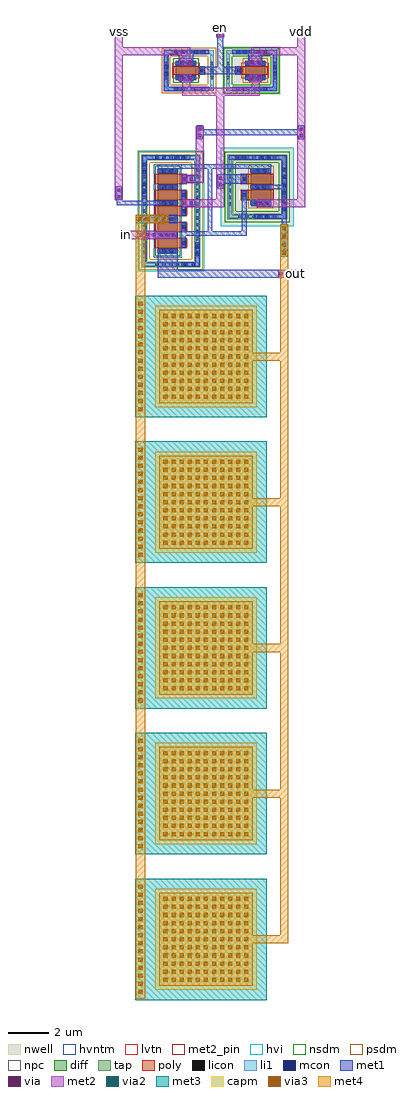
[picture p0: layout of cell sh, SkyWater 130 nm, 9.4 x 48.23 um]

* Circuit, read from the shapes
.subckt sh en in out vdd vss
XM1 in n1 out vss sky130_fd_pr__nfet_g5v0d10v5 w=1 l=0.5
XM2 n2 n1 in vss sky130_fd_pr__nfet_g5v0d10v5 w=1 l=0.5
XM3 vss n3 n2 vss sky130_fd_pr__nfet_g5v0d10v5 w=1 l=0.5
XM4 n4 n3 vss vss sky130_fd_pr__nfet_g5v0d10v5 w=1 l=0.5
XM5 n1 vdd n4 vss sky130_fd_pr__nfet_g5v0d10v5 w=1 l=0.5
XM6 vss en n3 vss sky130_fd_pr__nfet_01v8_lvt w=1 l=0.4
XM7 vdd en n3 vdd sky130_fd_pr__pfet_01v8_lvt w=1 l=0.4
XM8 n5 n1 vdd n5 sky130_fd_pr__pfet_g5v0d10v5 w=1 l=0.5
XM9 n1 n3 n5 n5 sky130_fd_pr__pfet_g5v0d10v5 w=1 l=0.5
XC10 n5 n2 sky130_fd_pr__cap_mim_m3_1 w=5 l=5 m=5
.ends

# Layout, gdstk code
import gdstk
lib = gdstk.Library(unit=1e-6, precision=1e-09)
def R(c, l, rs):  # rectangles x0, y0, x1, y1
    for r in rs: c.add(gdstk.rectangle(r[:2], r[2:], *l))
def A(c, l, x, y, w, h, nx, ny, dx, dy):  # array of equal rectangles
    R(c, l, [(x+i*dx, y+j*dy, x+i*dx+w, y+j*dy+h) for i in range(nx) for j in range(ny)])
nwell = (64, 20)
diff = (65, 20)
tap = (65, 44)
poly = (66, 20)
licon = (66, 44)
li1 = (67, 20)
mcon = (67, 44)
met1 = (68, 20)
via = (68, 44)
met2_pin = (69, 16)
met2 = (69, 20)
via2 = (69, 44)
met3 = (70, 20)
via3 = (70, 44)
met4 = (71, 20)
hvi = (75, 20)
capm = (89, 44)
nsdm = (93, 44)
psdm = (94, 20)
npc = (95, 20)
hvntm = (125, 20)
lvtn = (125, 44)

c_sh = lib.new_cell('sh')
R(c_sh, nwell, [(392.525,1812.86,396.145,1816.73), (392.635,1819.37,395.475,1821.73)])
R(c_sh, diff, [(389.41,1811.49,390.41,1815.73), (394.015,1813.86,395.015,1815.73), (390.31,1820.06,391.31,1821.04), (393.735,1820.06,394.735,1821.04)])
R(c_sh, tap, [(388.61,1810.82,388.9,1816.4), (388.9,1810.82,391.23,1811.11), (391.23,1810.82,391.52,1816.4), (392.855,1813.19,393.145,1816.4), (393.145,1813.19,395.525,1813.48), (395.525,1813.19,395.815,1816.4), (388.9,1816.11,391.23,1816.4), (393.145,1816.11,395.525,1816.4), (389.75,1819.55,389.92,1821.55), (389.92,1819.55,392.01,1819.72), (392.01,1819.55,392.18,1821.55), (392.815,1819.55,392.985,1821.55), (392.985,1819.55,395.125,1819.72), (395.125,1819.55,395.295,1821.55), (389.92,1821.38,392.01,1821.55), (392.985,1821.38,395.125,1821.55)])
A(c_sh, poly, 389.28, 1811.78, 1.57, 0.5, 1, 5, 0, 0.79)
R(c_sh, poly, [(393.53,1814.15,395.145,1814.65), (393.53,1814.94,395.145,1815.44), (390.18,1820.35,391.75,1820.75), (393.25,1820.35,394.865,1820.75)])
A(c_sh, licon, 389.3, 1810.88, 0.17, 0.17, 5, 2, 0.34, 5.29)
A(c_sh, licon, 388.67, 1811.485, 0.17, 0.17, 1, 13, 0, 0.34)
A(c_sh, licon, 391.29, 1811.485, 0.17, 0.17, 1, 13, 0, 0.34)
A(c_sh, licon, 389.485, 1811.55, 0.17, 0.17, 3, 6, 0.34, 0.79)
A(c_sh, licon, 390.6, 1811.945, 0.17, 0.17, 1, 5, 0, 0.79)
A(c_sh, licon, 393.4, 1813.25, 0.17, 0.17, 6, 2, 0.34, 2.92)
A(c_sh, licon, 392.915, 1813.86, 0.17, 0.17, 1, 6, 0, 0.34)
A(c_sh, licon, 395.585, 1813.86, 0.17, 0.17, 1, 6, 0, 0.34)
A(c_sh, licon, 394.09, 1813.92, 0.17, 0.17, 3, 3, 0.34, 0.79)
A(c_sh, licon, 390.37, 1819.55, 0.17, 0.17, 4, 2, 0.34, 1.83)
A(c_sh, licon, 393.46, 1819.55, 0.17, 0.17, 4, 2, 0.34, 1.83)
A(c_sh, licon, 390.385, 1820.12, 0.17, 0.17, 3, 2, 0.34, 0.69)
A(c_sh, licon, 393.81, 1820.12, 0.17, 0.17, 3, 2, 0.34, 0.69)
A(c_sh, licon, 389.75, 1820.125, 0.17, 0.17, 1, 3, 0, 0.34)
A(c_sh, licon, 392.01, 1820.125, 0.17, 0.17, 1, 3, 0, 0.34)
A(c_sh, licon, 392.815, 1820.125, 0.17, 0.17, 1, 3, 0, 0.34)
A(c_sh, licon, 395.125, 1820.125, 0.17, 0.17, 1, 3, 0, 0.34)
R(c_sh, licon, [(393.61,1814.315,393.78,1814.485), (393.61,1815.105,393.78,1815.275), (391.5,1820.465,391.67,1820.635), (393.33,1820.465,393.5,1820.635)])
A(c_sh, li1, 389.39, 1811.55, 1.04, 0.17, 1, 6, 0, 0.79)
A(c_sh, li1, 390.6, 1811.78, 0.17, 0.5, 1, 5, 0, 0.79)
A(c_sh, li1, 395.585, 1813.615, 0.17, 0.53, 1, 3, 0, 0.8)
A(c_sh, li1, 393.995, 1813.92, 1.04, 0.17, 1, 3, 0, 0.79)
R(c_sh, li1, [(388.67,1810.88,388.84,1816.34), (388.84,1810.88,391.29,1811.05), (390.73,1810.88,391.26,1811.05), (391.29,1810.88,391.46,1816.34), (391.29,1811.39,391.46,1811.92), (392.915,1813.25,393.085,1816.34), (393.085,1813.25,395.585,1813.42), (394.335,1813.25,394.865,1813.42), (395.585,1813.25,395.755,1816.34), (393.61,1814.15,393.78,1814.65), (388.67,1814.46,388.84,1814.99), (393.61,1814.94,393.78,1815.44), (388.67,1815.455,388.84,1815.985), (388.84,1816.17,391.29,1816.34), (389.29,1816.17,389.82,1816.34), (390.23,1816.17,390.76,1816.34), (393.085,1816.17,395.585,1816.34), (393.245,1816.17,393.775,1816.34), (394.48,1816.17,395.01,1816.34), (389.75,1819.55,389.92,1821.55), (389.92,1819.55,392.01,1819.72), (390.225,1819.55,390.755,1819.72), (391.225,1819.55,391.755,1819.72), (392.01,1819.55,392.18,1821.55), (392.815,1819.55,392.985,1821.55), (392.985,1819.55,395.125,1819.72), (393.29,1819.55,393.82,1819.72), (394.29,1819.55,394.82,1819.72), (395.125,1819.55,395.295,1821.55), (390.29,1820.12,391.33,1820.29), (393.715,1820.12,394.755,1820.29), (389.75,1820.285,389.92,1820.815), (395.125,1820.285,395.295,1820.815), (391.5,1820.35,391.67,1820.75), (393.33,1820.35,393.5,1820.75), (390.29,1820.81,391.33,1820.98), (393.715,1820.81,394.755,1820.98), (389.92,1821.38,392.01,1821.55), (390.225,1821.38,390.755,1821.55), (391.225,1821.38,391.755,1821.55), (392.985,1821.38,395.125,1821.55), (393.29,1821.38,393.82,1821.55), (394.29,1821.38,394.82,1821.55)])
A(c_sh, mcon, 389.645, 1811.55, 0.17, 0.17, 1, 6, 0, 0.79)
A(c_sh, mcon, 390.005, 1811.55, 0.17, 0.17, 1, 6, 0, 0.79)
A(c_sh, mcon, 390.6, 1811.945, 0.17, 0.17, 1, 5, 0, 0.79)
A(c_sh, mcon, 394.25, 1813.92, 0.17, 0.17, 1, 3, 0, 0.79)
A(c_sh, mcon, 394.61, 1813.92, 0.17, 0.17, 1, 3, 0, 0.79)
R(c_sh, mcon, [(390.73,1810.88,390.9,1811.05), (391.09,1810.88,391.26,1811.05), (391.29,1811.39,391.46,1811.56), (391.29,1811.75,391.46,1811.92), (394.335,1813.25,394.505,1813.42), (394.695,1813.25,394.865,1813.42), (395.585,1813.615,395.755,1813.785), (395.585,1813.975,395.755,1814.145), (393.61,1814.315,393.78,1814.485), (395.585,1814.415,395.755,1814.585), (388.67,1814.46,388.84,1814.63), (395.585,1814.775,395.755,1814.945), (388.67,1814.82,388.84,1814.99), (393.61,1815.105,393.78,1815.275), (395.585,1815.215,395.755,1815.385), (388.67,1815.455,388.84,1815.625), (395.585,1815.575,395.755,1815.745), (388.67,1815.815,388.84,1815.985), (389.29,1816.17,389.46,1816.34), (389.65,1816.17,389.82,1816.34), (390.23,1816.17,390.4,1816.34), (390.59,1816.17,390.76,1816.34), (393.245,1816.17,393.415,1816.34), (393.605,1816.17,393.775,1816.34), (394.48,1816.17,394.65,1816.34), (394.84,1816.17,395.01,1816.34), (390.225,1819.55,390.395,1819.72), (390.585,1819.55,390.755,1819.72), (391.225,1819.55,391.395,1819.72), (391.585,1819.55,391.755,1819.72), (393.29,1819.55,393.46,1819.72), (393.65,1819.55,393.82,1819.72), (394.29,1819.55,394.46,1819.72), (394.65,1819.55,394.82,1819.72), (390.545,1820.12,390.715,1820.29), (390.905,1820.12,391.075,1820.29), (393.97,1820.12,394.14,1820.29), (394.33,1820.12,394.5,1820.29), (389.75,1820.285,389.92,1820.455), (395.125,1820.285,395.295,1820.455), (391.5,1820.465,391.67,1820.635), (393.33,1820.465,393.5,1820.635), (389.75,1820.645,389.92,1820.815), (395.125,1820.645,395.295,1820.815), (390.545,1820.81,390.715,1820.98), (390.905,1820.81,391.075,1820.98), (393.97,1820.81,394.14,1820.98), (394.33,1820.81,394.5,1820.98), (390.225,1821.38,390.395,1821.55), (390.585,1821.38,390.755,1821.55), (391.225,1821.38,391.395,1821.55), (391.585,1821.38,391.755,1821.55), (393.29,1821.38,393.46,1821.55), (393.65,1821.38,393.82,1821.55), (394.29,1821.38,394.46,1821.55), (394.65,1821.38,394.82,1821.55)])
A(c_sh, met1, 389.41, 1811.52, 1, 0.23, 1, 6, 0, 0.79)
A(c_sh, met1, 390.57, 1811.8, 0.23, 0.46, 1, 5, 0, 0.79)
A(c_sh, met1, 388.41, 1812.275, 0.7, 0.3, 3, 1, 0.65, 0)
A(c_sh, met1, 395.555, 1813.585, 0.23, 0.59, 1, 3, 0, 0.8)
A(c_sh, met1, 394.015, 1813.89, 1, 0.23, 1, 3, 0, 0.79)
R(c_sh, met1, [(389.41,1810.3,390.41,1811.75), (389.41,1810.3,396.015,1810.7), (395.315,1810.35,396.015,1810.65), (390.7,1810.85,391.29,1811.08), (395.47,1811.35,395.87,1812.95), (391.26,1811.36,391.49,1811.95), (395.52,1811.45,395.82,1812.15), (390.57,1811.8,390.8,1813.05), (388.41,1812.225,390.36,1812.625), (395.52,1812.25,395.82,1812.95), (388.33,1813.015,390.41,1813.415), (388.375,1813.065,389.075,1813.365), (389.175,1813.065,389.875,1813.365), (389.025,1813.1,389.41,1813.33), (394.305,1813.22,394.895,1813.45), (390.57,1813.38,390.8,1814.63), (390.57,1813.855,391.27,1814.155), (394.015,1813.855,394.315,1814.155), (394.315,1813.855,395.015,1814.155), (387.35,1814.12,387.65,1814.82), (393.58,1814.17,393.81,1814.63), (388.64,1814.43,388.87,1815.02), (395.015,1814.68,395.785,1814.91), (392.35,1814.72,392.65,1815.42), (392.35,1814.96,393.81,1815.42), (393.58,1814.96,393.81,1815.42), (390.57,1815.04,391.27,1815.34), (388.64,1815.425,388.87,1816.015), (389.41,1815.7,395.015,1815.93), (389.26,1816.14,389.85,1816.37), (390.2,1816.14,390.79,1816.37), (393.215,1816.14,393.805,1816.37), (394.45,1816.14,395.04,1816.37), (391.35,1817.15,391.65,1817.85), (396.35,1817.15,396.65,1817.85), (390.195,1819.52,390.785,1819.75), (391.195,1819.52,391.785,1819.75), (393.26,1819.52,393.85,1819.75), (394.26,1819.52,394.85,1819.75), (390.46,1820.02,391.16,1820.32), (393.885,1820.02,394.585,1820.32), (390.31,1820.09,391.31,1820.32), (393.735,1820.09,394.735,1820.32), (389.72,1820.255,389.95,1820.845), (395.095,1820.255,395.325,1820.845), (391.47,1820.37,393.53,1820.73), (391.47,1820.37,391.7,1820.73), (393.3,1820.37,393.53,1820.73), (390.31,1820.78,391.31,1821.01), (393.735,1820.78,394.735,1821.01), (390.46,1820.83,391.16,1821.13), (393.885,1820.83,394.585,1821.13), (390.46,1821.13,391.16,1821.35), (393.885,1821.13,394.585,1821.35), (390.195,1821.35,390.785,1821.58), (391.195,1821.35,391.785,1821.58), (393.26,1821.35,393.85,1821.58), (394.26,1821.35,394.85,1821.58), (392.35,1822.15,392.65,1822.85)])
R(c_sh, via, [(395.43,1810.425,395.58,1810.575), (395.75,1810.425,395.9,1810.575), (395.595,1811.565,395.745,1811.715), (395.595,1811.885,395.745,1812.035), (388.525,1812.35,388.675,1812.5), (388.845,1812.35,388.995,1812.5), (389.175,1812.35,389.325,1812.5), (389.495,1812.35,389.645,1812.5), (389.825,1812.35,389.975,1812.5), (390.145,1812.35,390.295,1812.5), (395.595,1812.365,395.745,1812.515), (395.595,1812.685,395.745,1812.835), (388.49,1813.14,388.64,1813.29), (388.81,1813.14,388.96,1813.29), (389.29,1813.14,389.44,1813.29), (389.61,1813.14,389.76,1813.29), (390.685,1813.93,390.835,1814.08), (391.005,1813.93,391.155,1814.08), (394.43,1813.93,394.58,1814.08), (394.75,1813.93,394.9,1814.08), (387.425,1814.235,387.575,1814.385), (387.425,1814.555,387.575,1814.705), (392.425,1814.835,392.575,1814.985), (390.685,1815.115,390.835,1815.265), (391.005,1815.115,391.155,1815.265), (392.425,1815.155,392.575,1815.305), (391.425,1817.265,391.575,1817.415), (396.425,1817.265,396.575,1817.415), (391.425,1817.585,391.575,1817.735), (396.425,1817.585,396.575,1817.735), (390.575,1820.095,390.725,1820.245), (390.895,1820.095,391.045,1820.245), (394,1820.095,394.15,1820.245), (394.32,1820.095,394.47,1820.245), (390.575,1820.905,390.725,1821.055), (390.895,1820.905,391.045,1821.055), (394,1820.905,394.15,1821.055), (394.32,1820.905,394.47,1821.055), (390.255,1821.39,390.405,1821.54), (390.575,1821.39,390.725,1821.54), (394.32,1821.39,394.47,1821.54), (394.64,1821.39,394.79,1821.54), (392.425,1822.266,392.575,1822.416), (392.425,1822.586,392.575,1822.736)])
R(c_sh, met2_pin, [(396.11,1810.3,396.385,1810.7), (387.785,1812.225,387.995,1812.625), (387.3,1822.4,387.7,1822.6), (396.3,1822.401,396.7,1822.601), (392.3,1822.6,392.7,1822.8)])
A(c_sh, met2, 388.46, 1812.225, 0.6, 0.4, 3, 1, 0.65, 0)
R(c_sh, met2, [(395.365,1810.3,395.965,1810.7), (395.965,1810.3,396.385,1810.7), (395.47,1811.35,395.87,1812.15), (395.47,1811.5,395.87,1812.1), (395.47,1812.15,395.87,1812.95), (387.785,1812.225,388.155,1812.625), (388.155,1812.225,390.36,1812.625), (395.47,1812.3,395.87,1812.9), (388.325,1813.015,389.125,1813.415), (388.425,1813.015,389.025,1813.415), (389.125,1813.015,389.925,1813.415), (389.225,1813.015,389.825,1813.415), (387.3,1814.17,387.7,1814.77), (392.3,1814.77,392.7,1815.37), (390.62,1814.99,391.22,1815.39), (391.3,1817.2,391.7,1817.8), (396.3,1817.2,396.7,1817.8), (390.51,1819.97,391.11,1820.37), (393.935,1819.97,394.535,1820.37), (390.51,1820.78,391.11,1821.18), (393.935,1820.78,394.535,1821.18), (392.3,1822.2,392.7,1822.8), (392.3,1822.44,392.7,1822.8)])
R(c_sh, via2, [(395.57,1811.45,395.77,1811.65), (395.57,1811.45,395.77,1811.65), (395.57,1811.85,395.77,1812.05), (395.57,1811.85,395.77,1812.05), (395.57,1812.25,395.77,1812.45), (395.57,1812.25,395.77,1812.45), (395.57,1812.65,395.77,1812.85), (395.57,1812.65,395.77,1812.85), (388.425,1813.115,388.625,1813.315), (388.425,1813.115,388.625,1813.315), (388.825,1813.115,389.025,1813.315), (388.825,1813.115,389.025,1813.315), (389.225,1813.115,389.425,1813.315), (389.225,1813.115,389.425,1813.315), (389.625,1813.115,389.825,1813.315), (389.625,1813.115,389.825,1813.315)])
A(c_sh, met3, 388.305, 1774.62, 6.495, 6, 1, 5, 0, 7.2)
R(c_sh, met3, [(395.47,1811.35,395.87,1812.15), (395.47,1811.35,395.87,1812.15), (395.47,1812.15,395.87,1812.95), (395.47,1812.15,395.87,1812.95), (388.325,1813.015,389.125,1813.415), (388.325,1813.015,389.125,1813.415), (389.125,1813.015,389.925,1813.415), (389.125,1813.015,389.925,1813.415)])
A(c_sh, via3, 388.465, 1774.92, 0.2, 0.2, 1, 14, 0, 0.4)
A(c_sh, via3, 389.7, 1775.52, 0.2, 0.2, 11, 11, 0.4, 0.4)
A(c_sh, via3, 388.465, 1782.12, 0.2, 0.2, 1, 14, 0, 0.4)
A(c_sh, via3, 389.7, 1782.72, 0.2, 0.2, 11, 11, 0.4, 0.4)
A(c_sh, via3, 388.465, 1789.32, 0.2, 0.2, 1, 14, 0, 0.4)
A(c_sh, via3, 389.7, 1789.92, 0.2, 0.2, 11, 11, 0.4, 0.4)
A(c_sh, via3, 388.465, 1796.52, 0.2, 0.2, 1, 14, 0, 0.4)
A(c_sh, via3, 389.7, 1797.12, 0.2, 0.2, 11, 11, 0.4, 0.4)
A(c_sh, via3, 388.465, 1803.72, 0.2, 0.2, 1, 14, 0, 0.4)
A(c_sh, via3, 389.7, 1804.32, 0.2, 0.2, 11, 11, 0.4, 0.4)
A(c_sh, via3, 395.57, 1811.45, 0.2, 0.2, 1, 4, 0, 0.4)
A(c_sh, via3, 388.425, 1813.115, 0.2, 0.2, 4, 1, 0.4, 0)
A(c_sh, met4, 388.325, 1774.68, 0.48, 5.88, 1, 5, 0, 7.2)
A(c_sh, met4, 389.495, 1775.315, 4.61, 4.61, 1, 5, 0, 7.2)
R(c_sh, met4, [(395.47,1811.35,395.87,1812.15), (395.47,1812.15,395.87,1812.95), (388.325,1813.015,389.125,1813.415), (389.125,1813.015,389.925,1813.415)])
R(c_sh, hvi, [(388.425,1810.634,391.705,1816.584), (392.525,1812.859,396.145,1816.729)])
A(c_sh, capm, 389.3, 1775.12, 5, 5, 1, 5, 0, 7.2)
R(c_sh, nsdm, [(389.285,1811.365,390.535,1815.855), (392.73,1813.065,393.27,1816.525), (393.27,1813.065,395.4,1813.605), (395.4,1813.065,395.94,1816.525), (393.27,1815.985,395.4,1816.525), (392.69,1819.425,393.11,1821.675), (393.11,1819.425,395,1819.845), (395,1819.425,395.42,1821.675), (390.185,1819.935,391.435,1821.165), (393.11,1821.255,395,1821.675)])
R(c_sh, psdm, [(388.485,1810.695,389.025,1816.525), (389.025,1810.695,391.105,1811.235), (391.105,1810.695,391.645,1816.525), (393.89,1813.735,395.14,1815.855), (389.025,1815.985,391.105,1816.525), (389.625,1819.425,390.045,1821.675), (390.045,1819.425,391.885,1819.845), (391.885,1819.425,392.305,1821.675), (393.61,1819.935,394.86,1821.165), (390.045,1821.255,391.885,1821.675)])
A(c_sh, npc, 390.5, 1811.845, 0.37, 0.37, 1, 5, 0, 0.79)
R(c_sh, npc, [(393.51,1814.215,393.88,1814.585), (393.51,1815.005,393.88,1815.375), (391.4,1820.365,391.77,1820.735), (393.23,1820.365,393.6,1820.735)])
R(c_sh, hvntm, [(389.225,1811.305,390.595,1815.915)])
R(c_sh, lvtn, [(390.13,1820.17,391.49,1820.93), (393.555,1820.17,394.915,1820.93)])
c_sh.add(gdstk.FlexPath([(391.5,1812.5),(393.695,1812.5),(393.695,1814.5)], 0.23, ends="extended", simple_path=True, layer=68, datatype=20))  # met1
c_sh.add(gdstk.FlexPath([(391.375,1811.95),(391.375,1810.965),(390.7,1810.965)], 0.23, ends="extended", simple_path=True, layer=68, datatype=20))  # met1
c_sh.add(gdstk.FlexPath([(395.67,1813.68),(395.67,1812.805)], 0.23, ends="extended", simple_path=True, layer=68, datatype=20))  # met1
c_sh.add(gdstk.FlexPath([(393.03,1816.255),(395.67,1816.255),(395.67,1813.335),(394.3,1813.335)], 0.23, ends="extended", simple_path=True, layer=68, datatype=20))  # met1
c_sh.add(gdstk.FlexPath([(390.685,1812.5),(392,1812.5),(392,1815.815)], 0.23, ends="extended", simple_path=True, layer=68, datatype=20))  # met1
c_sh.add(gdstk.FlexPath([(390.915,1816.255),(388.755,1816.255),(388.755,1814.005)], 0.23, ends="extended", simple_path=True, layer=68, datatype=20))  # met1
c_sh.add(gdstk.FlexPath([(391.835,1819.635),(389.835,1819.635)], 0.23, ends="extended", simple_path=True, layer=68, datatype=20))  # met1
c_sh.add(gdstk.FlexPath([(389.835,1821.465),(389.835,1819.635)], 0.23, ends="extended", simple_path=True, layer=68, datatype=20))  # met1
c_sh.add(gdstk.FlexPath([(391.835,1821.465),(389.835,1821.465)], 0.23, ends="extended", simple_path=True, layer=68, datatype=20))  # met1
c_sh.add(gdstk.FlexPath([(393.21,1819.635),(395.21,1819.635)], 0.23, ends="extended", simple_path=True, layer=68, datatype=20))  # met1
c_sh.add(gdstk.FlexPath([(395.21,1821.465),(395.21,1819.635)], 0.23, ends="extended", simple_path=True, layer=68, datatype=20))  # met1
c_sh.add(gdstk.FlexPath([(393.21,1821.465),(395.21,1821.465)], 0.23, ends="extended", simple_path=True, layer=68, datatype=20))  # met1
c_sh.add(gdstk.FlexPath([(392.5,1822.5),(392.5,1820.5)], 0.3, ends="flush", simple_path=True, layer=68, datatype=20))  # met1
c_sh.add(gdstk.FlexPath([(389.5,1814),(387.5,1814),(387.5,1814.5)], 0.23, ends="flush", simple_path=True, layer=68, datatype=20))  # met1
c_sh.add(gdstk.FlexPath([(391.5,1817.5),(396.5,1817.5)], 0.3, ends="flush", simple_path=True, layer=68, datatype=20))  # met1
c_sh.add(gdstk.FlexPath([(387.5,1821.5),(390.828,1821.5),(390.828,1821)], 0.4, ends="flush", simple_path=True, layer=69, datatype=20))  # met2
c_sh.add(gdstk.FlexPath([(394.25,1821),(394.25,1821.5),(396.5,1821.5)], 0.4, ends="flush", simple_path=True, layer=69, datatype=20))  # met2
c_sh.add(gdstk.FlexPath([(396.5,1822.5),(396.5,1814),(394.3,1814)], 0.4, ends="flush", simple_path=True, layer=69, datatype=20))  # met2
c_sh.add(gdstk.FlexPath([(392.5,1819.5),(392.5,1814),(390.62,1814)], 0.4, ends="flush", simple_path=True, layer=69, datatype=20))  # met2
c_sh.add(gdstk.FlexPath([(387.5,1822.5),(387.5,1814.5)], 0.4, ends="flush", simple_path=True, layer=69, datatype=20))  # met2
c_sh.add(gdstk.FlexPath([(390.825,1820.2),(390.825,1819.5),(394.27,1819.5),(394.27,1820.2)], 0.4, ends="flush", simple_path=True, layer=69, datatype=20))  # met2
c_sh.add(gdstk.FlexPath([(390.95,1815.2),(391.5,1815.2),(391.5,1817.5)], 0.4, ends="flush", simple_path=True, layer=69, datatype=20))  # met2
c_sh.add(gdstk.FlexPath([(394.305,1777.615),(395.67,1777.615)], 0.4, ends="extended", simple_path=True, layer=71, datatype=20))  # met4
c_sh.add(gdstk.FlexPath([(394.305,1806.415),(395.67,1806.415)], 0.4, ends="extended", simple_path=True, layer=71, datatype=20))  # met4
c_sh.add(gdstk.FlexPath([(394.305,1784.815),(395.67,1784.815)], 0.4, ends="extended", simple_path=True, layer=71, datatype=20))  # met4
c_sh.add(gdstk.FlexPath([(394.305,1792.015),(395.67,1792.015)], 0.4, ends="extended", simple_path=True, layer=71, datatype=20))  # met4
c_sh.add(gdstk.FlexPath([(394.305,1799.215),(395.67,1799.215)], 0.4, ends="extended", simple_path=True, layer=71, datatype=20))  # met4
c_sh.add(gdstk.FlexPath([(395.67,1812.365),(395.67,1777.615)], 0.4, ends="extended", simple_path=True, layer=71, datatype=20))  # met4
c_sh.add(gdstk.FlexPath([(388.565,1812.775),(388.565,1774.92)], 0.48, ends="extended", simple_path=True, layer=71, datatype=20))  # met4
c_sh.add(gdstk.Label('vdd', (396.53,1822.496), layer=69, texttype=5))
c_sh.add(gdstk.Label('en', (392.53,1822.696), layer=69, texttype=5))
c_sh.add(gdstk.Label('vss', (387.53,1822.495), layer=69, texttype=5))
c_sh.add(gdstk.Label('in', (387.87,1812.43), layer=69, texttype=5))
c_sh.add(gdstk.Label('out', (396.24,1810.505), layer=69, texttype=5))

lib.write_gds('sh.gds')
